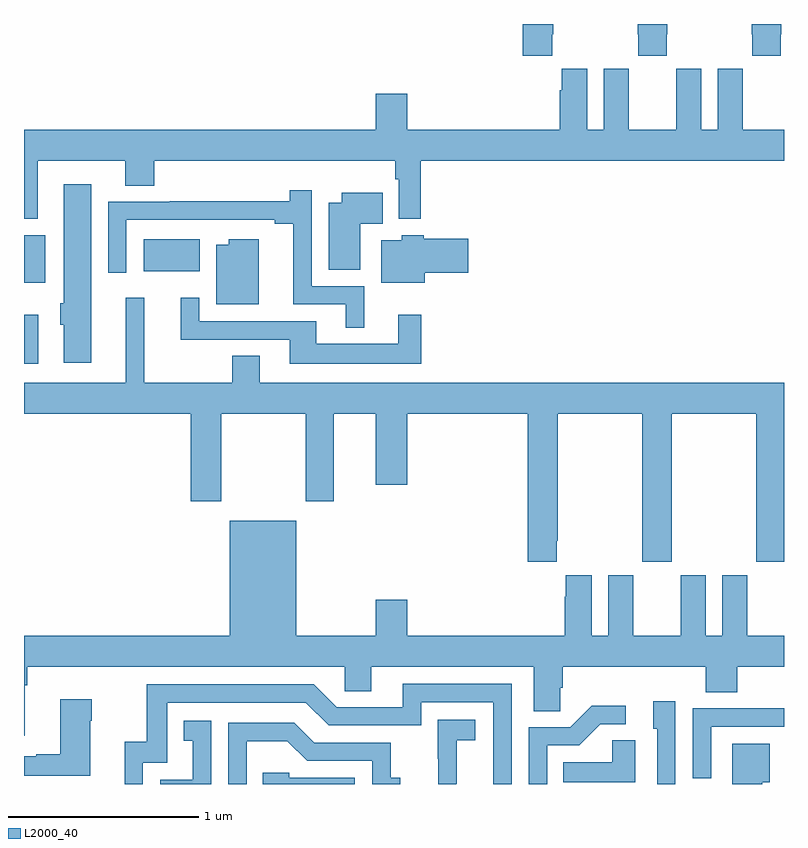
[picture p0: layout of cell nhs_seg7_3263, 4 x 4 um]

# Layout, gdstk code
import gdstk
lib = gdstk.Library(unit=1e-6, precision=1e-09)
def R(c, l, rs):  # rectangles x0, y0, x1, y1
    for r in rs: c.add(gdstk.rectangle(r[:2], r[2:], *l))
def P(c, l, *ps):  # polygons
    for p in ps: c.add(gdstk.Polygon(p, *l))
L2000_40 = (2000, 40)

nhs_seg7_3263 = lib.new_cell('nhs_seg7_3263')
R(nhs_seg7_3263, L2000_40, [(319,1002.212,319.075,1002.469), (319,1002.638,319.111,1002.889), (319.631,1002.698,319.924,1002.868)])
P(nhs_seg7_3263, L2000_40, [(322.383,1003.945),(322.386,1003.945),(322.386,1004),(322.231,1004),(322.231,1003.945),(322.233,1003.945),(322.233,1003.833),(322.383,1003.833)],
  [(322.983,1003.945),(322.986,1003.945),(322.986,1004),(322.831,1004),(322.831,1003.945),(322.833,1003.945),(322.833,1003.833),(322.983,1003.833)],
  [(321.779,1003.945),(321.786,1003.945),(321.786,1004),(321.626,1004),(321.626,1003.833),(321.779,1003.833)],
  [(319.072,1003.28),(319.532,1003.28),(319.532,1003.15),(319.685,1003.15),(319.685,1003.28),(320.953,1003.28),(320.953,1003.184),(320.973,1003.184),(320.973,1002.974),(321.089,1002.974),(321.089,1003.28),(323,1003.28),(323,1003.444),(322.783,1003.444),(322.783,1003.652),(322.782,1003.652),(322.782,1003.765),(322.652,1003.765),(322.652,1003.444),(322.564,1003.444),(322.564,1003.765),(322.434,1003.765),(322.434,1003.652),(322.433,1003.652),(322.433,1003.444),(322.183,1003.444),(322.183,1003.652),(322.182,1003.652),(322.182,1003.765),(322.052,1003.765),(322.052,1003.444),(321.964,1003.444),(321.964,1003.765),(321.83,1003.765),(321.83,1003.652),(321.821,1003.652),(321.821,1003.444),(321.016,1003.444),(321.016,1003.633),(320.852,1003.633),(320.852,1003.444),(319,1003.444),(319,1002.974),(319.072,1002.974)],
  [(319.354,1003.156),(319.208,1003.156),(319.208,1002.531),(319.19,1002.531),(319.19,1002.417),(319.208,1002.417),(319.208,1002.216),(319.354,1002.216)],
  [(320.791,1002.621),(320.514,1002.621),(320.514,1003.126),(320.398,1003.126),(320.398,1003.067),(319.768,1003.067),(319.768,1003.065),(319.443,1003.065),(319.443,1002.69),(319.539,1002.69),(319.539,1002.969),(320.321,1002.969),(320.321,1002.949),(320.417,1002.949),(320.417,1002.525),(320.693,1002.525),(320.693,1002.401),(320.791,1002.401)],
  [(320.77,1002.95),(320.888,1002.95),(320.888,1003.111),(320.672,1003.111),(320.672,1003.06),(320.603,1003.06),(320.603,1002.706),(320.77,1002.706)],
  [(321.109,1002.692),(321.337,1002.692),(321.337,1002.87),(321.105,1002.87),(321.105,1002.889),(320.988,1002.889),(320.988,1002.862),(320.879,1002.862),(320.879,1002.638),(321.109,1002.638)],
  [(320.236,1002.868),(320.078,1002.868),(320.078,1002.838),(320.012,1002.838),(320.012,1002.524),(320.236,1002.524)],
  [(321.091,1002.469),(320.969,1002.469),(320.969,1002.316),(320.539,1002.316),(320.539,1002.435),(319.923,1002.435),(319.923,1002.559),(319.826,1002.559),(319.826,1002.339),(320.399,1002.339),(320.399,1002.212),(321.091,1002.212)],
  [(320.242,1002.254),(320.095,1002.254),(320.095,1002.112),(319.634,1002.112),(319.634,1002.559),(319.535,1002.559),(319.535,1002.112),(319,1002.112),(319,1001.948),(319.877,1001.948),(319.877,1001.487),(320.037,1001.487),(320.037,1001.948),(320.482,1001.948),(320.482,1001.487),(320.629,1001.487),(320.629,1001.948),(320.852,1001.948),(320.852,1001.574),(321.016,1001.574),(321.016,1001.948),(321.65,1001.948),(321.65,1001.169),(321.805,1001.169),(321.805,1001.281),(321.81,1001.281),(321.81,1001.948),(322.255,1001.948),(322.255,1001.169),(322.41,1001.169),(322.41,1001.948),(322.855,1001.948),(322.855,1001.169),(323,1001.169),(323,1002.112),(320.242,1002.112)],
  [(319.003,1000.52),(319.016,1000.52),(319.016,1000.616),(320.688,1000.616),(320.688,1000.489),(320.827,1000.489),(320.827,1000.616),(321.683,1000.616),(321.683,1000.384),(321.822,1000.384),(321.822,1000.507),(321.836,1000.507),(321.836,1000.616),(322.589,1000.616),(322.589,1000.483),(322.754,1000.483),(322.754,1000.616),(323,1000.616),(323,1000.78),(322.807,1000.78),(322.807,1001.098),(322.676,1001.098),(322.676,1000.78),(322.588,1000.78),(322.588,1001.098),(322.457,1001.098),(322.457,1000.78),(322.207,1000.78),(322.207,1001.098),(322.076,1001.098),(322.076,1000.78),(321.988,1000.78),(321.988,1001.098),(321.851,1001.098),(321.851,1000.985),(321.845,1000.985),(321.845,1000.78),(321.016,1000.78),(321.016,1000.969),(320.852,1000.969),(320.852,1000.78),(320.434,1000.78),(320.434,1001.386),(320.084,1001.386),(320.084,1000.78),(319,1000.78),(319,1000.254),(319.003,1000.254)],
  [(319.626,1000.113),(319.755,1000.113),(319.755,1000.428),(320.484,1000.428),(320.604,1000.308),(321.09,1000.308),(321.09,1000.431),(321.471,1000.431),(321.471,1000),(321.567,1000),(321.567,1000.527),(320.993,1000.527),(320.993,1000.404),(320.646,1000.404),(320.526,1000.524),(319.647,1000.524),(319.647,1000.222),(319.529,1000.222),(319.529,1000),(319.626,1000)],
  [(319.348,1000.334),(319.356,1000.334),(319.356,1000.447),(319.19,1000.447),(319.19,1000.157),(319.064,1000.157),(319.064,1000.147),(319,1000.147),(319,1000.043),(319.348,1000.043)],
  [(322.428,1000.435),(322.313,1000.435),(322.313,1000.29),(322.332,1000.29),(322.332,1000),(322.428,1000)],
  [(321.753,1000.203),(321.922,1000.203),(322.033,1000.314),(322.168,1000.314),(322.168,1000.412),(321.989,1000.412),(321.876,1000.299),(321.657,1000.299),(321.657,1000),(321.753,1000)],
  [(322.617,1000.302),(323,1000.302),(323,1000.4),(322.837,1000.4),(322.837,1000.398),(322.521,1000.398),(322.521,1000.029),(322.617,1000.029)],
  [(321.276,1000.001),(321.278,1000.001),(321.278,1000.229),(321.376,1000.229),(321.376,1000.339),(321.178,1000.339),(321.178,1000.133),(321.179,1000.133),(321.179,1000),(321.276,1000)],
  [(319.986,1000.333),(319.84,1000.333),(319.84,1000.227),(319.889,1000.227),(319.889,1000.023),(319.716,1000.023),(319.716,1000),(319.986,1000)],
  [(320.172,1000.226),(320.386,1000.226),(320.49,1000.122),(320.832,1000.122),(320.832,1000),(320.98,1000),(320.98,1000.033),(320.931,1000.033),(320.931,1000.218),(320.527,1000.218),(320.422,1000.323),(320.076,1000.323),(320.076,1000),(320.172,1000)],
  [(322.216,1000.229),(322.095,1000.229),(322.095,1000.114),(321.838,1000.114),(321.838,1000.01),(322.216,1000.01)],
  [(322.885,1000.01),(322.924,1000.01),(322.924,1000.213),(322.727,1000.213),(322.727,1000),(322.885,1000)],
  [(320.742,1000.032),(320.397,1000.032),(320.397,1000.059),(320.257,1000.059),(320.257,1000),(320.742,1000)])

lib.write_gds('nhs_seg7_3263.gds')
